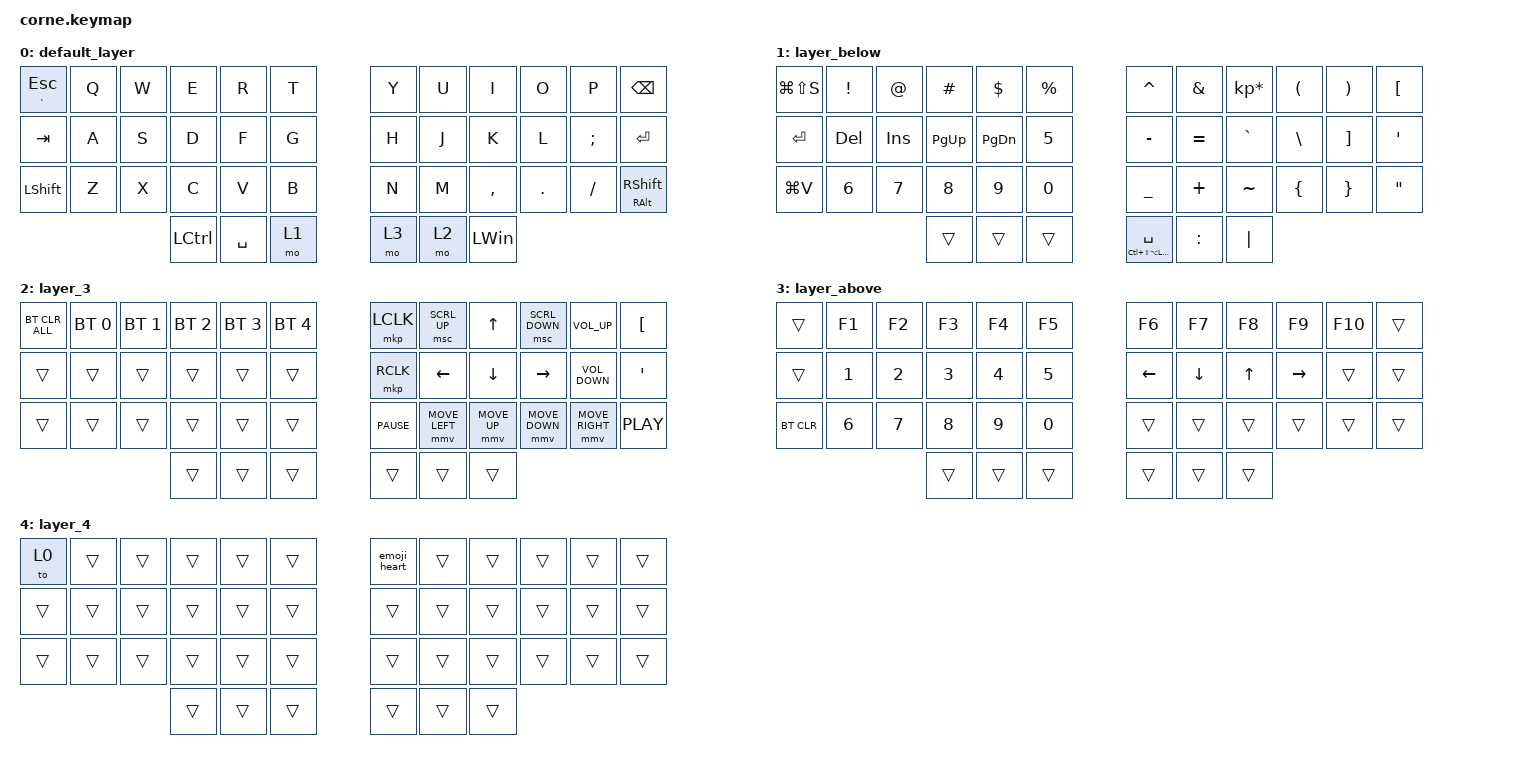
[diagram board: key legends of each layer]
/*
 * Copyright (c) 2020 The ZMK Contributors
 *
 * SPDX-License-Identifier: MIT
 */

#include <behaviors.dtsi>
#include <dt-bindings/zmk/bt.h>
#include <dt-bindings/zmk/keys.h>
#include <dt-bindings/zmk/pointing.h>

&mt {
    require-prior-idle-ms = <0>;
    quick-tap-ms = <0>;
    tapping-term-ms = <200>;
    flavor = "tap-preferred";
    hold-trigger-key-positions = <>;
    bindings = <&kp>, <&kp>;
};

/ {
    behaviors {
        tp: tap_preferred {
            compatible = "zmk,behavior-hold-tap";
            label = "TAP_PREFERRED";
            #binding-cells = <2>;
            tapping-term-ms = <150>;
            quick-tap-ms = <0>;
            flavor = "tap-preferred";
            bindings = <&kp>, <&kp>;
        };
    };

    combos {
        compatible = "zmk,combos";

        macros {
            bindings = <&to 4>;
            key-positions = <38 39>;
        };
    };

    macros {
        emoji_heart: emoji_heart {
            compatible = "zmk,behavior-macro";
            #binding-cells = <0>;
            bindings = <&kp SPACE &kp SPACE &kp SPACE &kp SPACE &kp SPACE &kp SPACE &kp SPACE &kp SPACE &kp SPACE &kp DOT &kp SPACE &kp SPACE &kp SPACE &kp SPACE &kp COMMA &kp SPACE &kp SPACE &kp SPACE &kp SPACE &kp SPACE &kp DOT &kp SPACE &kp SPACE &kp SPACE &kp SPACE &kp SPACE &kp EXCL>;
            label = "EMOJI_HEART";
        };
    };

    keymap {
        compatible = "zmk,keymap";

        default_layer {
            // -----------------------------------------------------------------------------------------
            // | TAB  |  Q  |  W  |  E  |  R  |    T    |   |  Y  |  U   |  I  |  O  |  P  | ESC |
            // | CTRL |  A  |  S  |  D  |  F  |    G    |   |  H  |  J   |  K  |  L  |  ;  |  LWR/'   |
            // | SHFT |  Z  |  X  |  C  |  V  |    B    |   |  N  |  M   |  ,  |  .  |  /  | SHFT |
            //                    | GUI | LWR | ALT/ENT |   | HYPER/SPC | BKSP  | RSE |

            bindings = <
&tp GRAVE ESCAPE  &kp Q  &kp W  &kp E             &kp R      &kp T    &kp Y  &kp U  &kp I         &kp O    &kp P     &kp BACKSPACE
&kp TAB           &kp A  &kp S  &kp D             &kp F      &kp G    &kp H  &kp J  &kp K         &kp L    &kp SEMI  &kp ENTER
&kp LEFT_SHIFT    &kp Z  &kp X  &kp C             &kp V      &kp B    &kp N  &kp M  &kp COMMA     &kp DOT  &kp FSLH  &mt RIGHT_ALT RIGHT_SHIFT
                                &kp LEFT_CONTROL  &kp SPACE  &mo 1    &mo 3  &mo 2  &kp LEFT_WIN
            >;
        };

        layer_below {
            // -----------------------------------------------------------------------------------------
            // |      |  !  |  @  |  #  |  $  |    %     |   |  ^  |  &  |  *  |  (  |  )  |   \   |
            // |      |  1  |  2  |  3  |  4  |    5     |   |  -  |  =  |  `  |  [  |  ]  |  "|"  |
            // | SHFT |  6  |  7  |  8  |  9  |    0     |   |  _  |  +  |  ~  |  {  |  }  | RSHFT |
            //                     | GUI |     | ALT/ENT |   | HYPER/SPACE | BKSP |    |

            bindings = <
&kp LG(LS(S))  &kp EXCL    &kp AT      &kp HASH     &kp DLLR       &kp PRCNT    &kp CARET                   &kp AMPS   &kp KP_MULTIPLY  &kp LPAR       &kp RPAR  &kp LEFT_BRACKET
&kp ENTER      &kp DELETE  &kp INSERT  &kp PAGE_UP  &kp PAGE_DOWN  &kp N5       &kp MINUS                   &kp EQUAL  &kp GRAVE        &kp BACKSLASH  &kp RBKT  &kp SQT
&kp LG(V)      &kp N6      &kp N7      &kp N8       &kp N9         &kp N0       &kp UNDER                   &kp PLUS   &kp TILDE        &kp LBRC       &kp RBRC  &kp DOUBLE_QUOTES
                                       &trans       &trans         &trans       &tp LC(LS(LA(LGUI))) SPACE  &kp COLON  &kp PIPE
            >;
        };

        layer_3 {
            bindings = <
&bt BT_CLR_ALL  &bt BT_SEL 0  &bt BT_SEL 1  &bt BT_SEL 2  &bt BT_SEL 3  &bt BT_SEL 4    &mkp LCLK    &msc SCRL_UP    &kp UP_ARROW    &msc SCRL_DOWN   &kp C_VOLUME_UP    &kp LEFT_BRACKET
&trans          &trans        &trans        &trans        &trans        &trans          &mkp RCLK    &kp LEFT_ARROW  &kp DOWN_ARROW  &kp RIGHT_ARROW  &kp C_VOLUME_DOWN  &kp SQT
&trans          &trans        &trans        &trans        &trans        &trans          &kp C_PAUSE  &mmv MOVE_LEFT  &mmv MOVE_UP    &mmv MOVE_DOWN   &mmv MOVE_RIGHT    &kp C_PLAY
                                            &trans        &trans        &trans          &trans       &trans          &trans
            >;
        };

        layer_above {
            // -----------------------------------------------------------------------------------------
            // |       |  F1  |  F2  |  F3  |  F4  |  F5 |            |  F6  |  F7  |  F8  |  F9  |  F10  |   |
            // |       | Prev | Next | Vol - | Vol + | Play/Pause |   |      | LFT | DWN |  UP | RGT |     |     |
            // | BTCLR | BT1 | BT2 | BT3 | BT4 | BT5 |   |            |     |     |     |     |     |     |
            //                    |     |     |    |                  |     |     |     |

            bindings = <
&trans      &kp F1        &kp F2        &kp F3        &kp F4        &kp F5          &kp F6    &kp F7    &kp F8  &kp F9     &kp F10  &trans
&trans      &kp NUMBER_1  &kp NUMBER_2  &kp NUMBER_3  &kp NUMBER_4  &kp NUMBER_5    &kp LEFT  &kp DOWN  &kp UP  &kp RIGHT  &trans   &trans
&bt BT_CLR  &kp NUMBER_6  &kp NUMBER_7  &kp NUMBER_8  &kp NUMBER_9  &kp NUMBER_0    &trans    &trans    &trans  &trans     &trans   &trans
                                        &trans        &trans        &trans          &trans    &trans    &trans
            >;
        };

        layer_4 {
            bindings = <
&to 0   &trans  &trans  &trans  &trans  &trans    &emoji_heart  &trans  &trans  &trans  &trans  &trans
&trans  &trans  &trans  &trans  &trans  &trans    &trans        &trans  &trans  &trans  &trans  &trans
&trans  &trans  &trans  &trans  &trans  &trans    &trans        &trans  &trans  &trans  &trans  &trans
                        &trans  &trans  &trans    &trans        &trans  &trans
            >;
        };
    };
};
